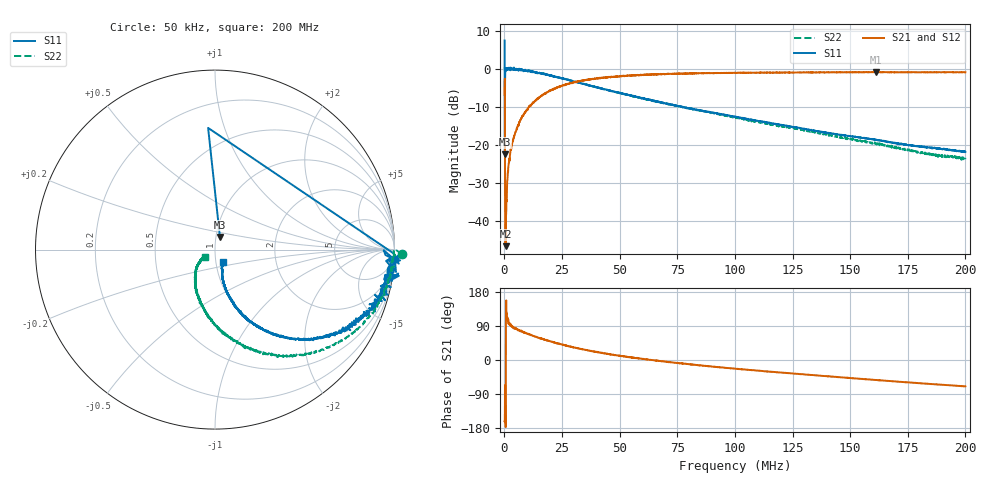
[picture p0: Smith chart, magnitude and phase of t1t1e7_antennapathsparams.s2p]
! 12-May-26 12:37:13 PM
! E:\REC_VNA_20260512\T1T1E7_ANTENNAPATHSPARAMS.S2P
! CHANNEL.1
! TR.MEASUREMENT
! CORRECTED.DATA
# GHZ S RI R 50.0
! FREQ.GHZ  S11RE  S11IM  S21RE  S21IM  S12RE  S12IM  S22RE  S22IM
!; PortSelection: Port_12
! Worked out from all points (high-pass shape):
!   2000 points, 50 kHz to 200 MHz, reference 50 ohm
!   highest |S21| = -0.84 dB at 161.2 MHz (marker M1); lowest = -46.6 dB at 450.1 kHz (marker M2)
!   |S21| within 3 dB of the highest: 120.4 kHz to 154 kHz (33.59 kHz wide, 24.5 % of centre); 28.43 MHz to end of sweep
!   lowest |S11| = -22.4 dB at 150 kHz (marker M3), VSWR 1.16, Z = 52.3 + j7.43 ohm
!   |S11| at or under -10 dB: 108.4 kHz to 215.2 kHz (106.8 kHz wide, 66 % of centre); 76.96652 MHz to 77.32593 MHz (359.4 kHz wide, 0.466 % of centre); 77.4 MHz to end of sweep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
!   |S22| runs from -23.9 to 0.4 dB; largest |S21 - S12| = 0.74
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5e-05  -0.3017 2.331  -0.4331 -0.1422  0.00427 0.00113  1.041 -0.0247
0.000150025  0.0274 0.0706  -0.7129 -0.2096  -0.000293 0.00215  1.011 -0.00443
0.0004501  1.024 -0.0786  -0.00463 -0.000737  -0.00153 0.0109  0.9958 -0.00813
0.001150275  1.024 -0.0475  -0.0109 0.03  -0.00332 0.0326  0.9898 -0.0522
0.0012503  0.9896 -0.0581  -0.0135 0.0322  -0.00236 0.0345  0.9918 -0.0613
0.001350325  0.9888 -0.0781  -0.012 0.0359  -0.00263 0.0383  0.9892 -0.0607
0.0016504  1.002 -0.0574  -0.0149 0.0492  -0.00308 0.0483  0.9822 -0.0686
0.002150525  1.001 -0.0743  -0.00902 0.0663  -0.000796 0.0626  0.9801 -0.1027
0.003350825  1 -0.0648  -0.000562 0.1056  0.00448 0.1017  0.975 -0.1461
0.005151276  0.9495 -0.142  0.0188 0.1553  0.0207 0.1556  0.955 -0.2126
0.007751926  0.9271 -0.2554  0.0624 0.2285  0.0625 0.2265  0.9077 -0.3048
0.01135283  0.8553 -0.3668  0.1383 0.3029  0.1365 0.3015  0.8274 -0.4086
0.01715428  0.7246 -0.4366  0.2714 0.3736  0.2696 0.3813  0.6709 -0.526
0.02435608  0.5715 -0.4919  0.4386 0.3931  0.4434 0.3951  0.4778 -0.5873
0.03345835  0.4112 -0.491  0.6139 0.3321  0.6069 0.3347  0.2755 -0.581
0.04636158  0.2601 -0.4403  0.7525 0.1943  0.754 0.197  0.0991 -0.4998
0.06676668  0.1355 -0.3458  0.8485 -0.0276  0.8468 -0.0271  -0.0434 -0.362
0.100075  0.0609 -0.2283  0.8151 -0.3505  0.814 -0.3453  -0.112 -0.2043
0.1333833  0.0403 -0.15  0.6915 -0.5715  0.6961 -0.5713  -0.1051 -0.1067
0.1611903  0.0391 -0.1105  0.5503 -0.7225  0.549 -0.7223  -0.0804 -0.0672
0.1666917  0.0391 -0.1021  0.5114 -0.7372  0.5126 -0.7415  -0.0775 -0.0557
0.2  0.0467 -0.0665  0.3145 -0.8422  0.3158 -0.8407  -0.0546 -0.0402
